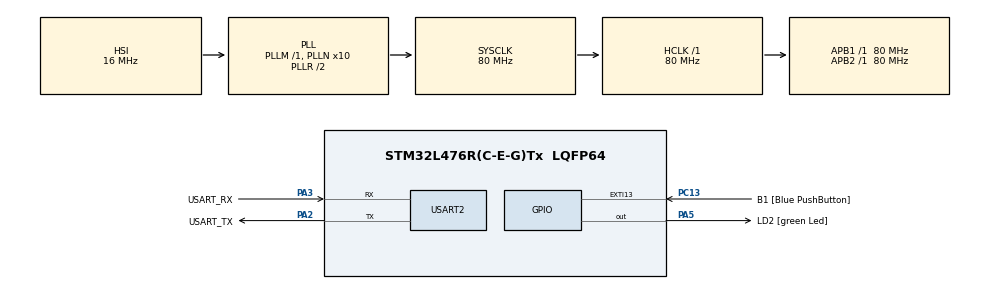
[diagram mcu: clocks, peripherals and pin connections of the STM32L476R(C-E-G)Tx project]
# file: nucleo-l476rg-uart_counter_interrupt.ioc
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Mcu.Family=STM32L4
Mcu.Name=STM32L476R(C-E-G)Tx
Mcu.Package=LQFP64
NVIC.PriorityGroup=NVIC_PRIORITYGROUP_4
NVIC.USART2_IRQn=true\:0\:0\:false\:false\:true\:true\:true
PA13\ (JTMS-SWDIO).GPIO_Label=TMS
PA13\ (JTMS-SWDIO).Mode=Serial_Wire
PA13\ (JTMS-SWDIO).Signal=SYS_JTMS-SWDIO
PA14\ (JTCK-SWCLK).GPIO_Label=TCK
PA14\ (JTCK-SWCLK).Mode=Serial_Wire
PA14\ (JTCK-SWCLK).Signal=SYS_JTCK-SWCLK
PA2.GPIO_Label=USART_TX
PA2.GPIO_Mode=GPIO_MODE_AF_PP
PA2.GPIO_PuPd=GPIO_NOPULL
PA2.GPIO_Speed=GPIO_SPEED_FREQ_VERY_HIGH
PA2.Mode=Asynchronous
PA2.Signal=USART2_TX
PA3.GPIO_Label=USART_RX
PA3.GPIO_Mode=GPIO_MODE_AF_PP
PA3.GPIO_PuPd=GPIO_NOPULL
PA3.GPIO_Speed=GPIO_SPEED_FREQ_VERY_HIGH
PA3.Mode=Asynchronous
PA3.Signal=USART2_RX
PA5.GPIO_Label=LD2 [green Led]
PA5.GPIO_ModeDefaultOutputPP=GPIO_MODE_OUTPUT_PP
PA5.GPIO_PuPd=GPIO_NOPULL
PA5.GPIO_Speed=GPIO_SPEED_FREQ_LOW
PA5.Signal=GPIO_Output
PB3\ (JTDO-TRACESWO).GPIO_Label=SWO
PB3\ (JTDO-TRACESWO).Signal=SYS_JTDO-SWO
PC13.GPIO_Label=B1 [Blue PushButton]
PC13.GPIO_ModeDefaultEXTI=GPIO_MODE_IT_FALLING
PC13.GPIO_PuPd=GPIO_NOPULL
PC13.Signal=GPXTI13
PC14-OSC32_IN\ (PC14).Mode=LSE-External-Oscillator
PC14-OSC32_IN\ (PC14).Signal=RCC_OSC32_IN
PC15-OSC32_OUT\ (PC15).Mode=LSE-External-Oscillator
PC15-OSC32_OUT\ (PC15).Signal=RCC_OSC32_OUT
PH0-OSC_IN\ (PH0).Signal=RCC_OSC_IN
PH1-OSC_OUT\ (PH1).Signal=RCC_OSC_OUT
ProjectManager.HeapSize=0x200
ProjectManager.StackSize=0x400
ProjectManager.TargetToolchain=STM32CubeIDE
RCC.ADCFreq_Value=64000000
RCC.AHBFreq_Value=80000000
RCC.APB1Freq_Value=80000000
RCC.APB1TimFreq_Value=80000000
RCC.APB2Freq_Value=80000000
RCC.APB2TimFreq_Value=80000000
RCC.CortexFreq_Value=80000000
RCC.HCLKFreq_Value=80000000
RCC.HSE_VALUE=8000000
RCC.HSI_VALUE=16000000
RCC.MSI_VALUE=4000000
RCC.PLLN=10
RCC.PLLSourceVirtual=RCC_PLLSOURCE_HSI
RCC.PREFETCH_ENABLE=1
RCC.SYSCLKFreq_VALUE=80000000
RCC.SYSCLKSource=RCC_SYSCLKSOURCE_PLLCLK
RCC.USBFreq_Value=64000000
RCC.VCOOutputFreq_Value=160000000
USART2.VirtualMode-Asynchronous=VM_ASYNC
board=NUCLEO-L476RG

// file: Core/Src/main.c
/* USER CODE BEGIN Header */
/**
  ******************************************************************************
  * @file           : main.c
  * @brief          : Main program body
  ******************************************************************************
  * @attention
  *
  * <h2><center>&copy; Copyright (c) 2021 STMicroelectronics.
  * All rights reserved.</center></h2>
  *
  * This software component is licensed by ST under BSD 3-Clause license,
  * the "License"; You may not use this file except in compliance with the
  * License. You may obtain a copy of the License at:
  *                        opensource.org/licenses/BSD-3-Clause
  *
  ******************************************************************************
  */
/* USER CODE END Header */
#include "main.h"
#include <string.h>
#include <stdio.h>

UART_HandleTypeDef huart2;

void SystemClock_Config(void);
static void MX_GPIO_Init(void);
static void MX_USART2_UART_Init(void);

/* USER CODE BEGIN 0 */

int i = 0; //For the counter.
	uint8_t rx_char[1]= {0};

/* USER CODE END 0 */

int main(void)
{
  /* USER CODE BEGIN 1 */

	//uint8_t buf[100];

  /* USER CODE END 1 */

  /* MCU Configuration--------------------------------------------------------*/

  /* Reset of all peripherals, Initializes the Flash interface and the Systick. */
  HAL_Init();

  /* Configure the system clock */
  SystemClock_Config();

  /* Initialize all configured peripherals */
  MX_GPIO_Init();
  MX_USART2_UART_Init();
  /* USER CODE BEGIN 2 */

  	  uint8_t tx_buff[100];

  	  HAL_UART_Receive_IT(&huart2, rx_char, 1); //Start listening for interrupts.

  /* USER CODE END 2 */

  /* Infinite loop */
  /* USER CODE BEGIN WHILE */
  while (1)
  {
	  snprintf((char*)tx_buff, sizeof(tx_buff), "%d\r\n", i);//Copies a value to the buffer. String casted integer.
	  HAL_UART_Transmit(&huart2, tx_buff, strlen((char*)tx_buff), 500);

	  HAL_Delay(500);
	  i++;
    /* USER CODE END WHILE */

  }
}

void SystemClock_Config(void)
{
  RCC_OscInitTypeDef RCC_OscInitStruct = {0};
  RCC_ClkInitTypeDef RCC_ClkInitStruct = {0};

  /** Configure the main internal regulator output voltage
  */
  if (HAL_PWREx_ControlVoltageScaling(PWR_REGULATOR_VOLTAGE_SCALE1) != HAL_OK)
  {
    Error_Handler();
  }
  /** Initializes the RCC Oscillators according to the specified parameters
  * in the RCC_OscInitTypeDef structure.
  */
  RCC_OscInitStruct.OscillatorType = RCC_OSCILLATORTYPE_HSI;
  RCC_OscInitStruct.HSIState = RCC_HSI_ON;
  RCC_OscInitStruct.HSICalibrationValue = RCC_HSICALIBRATION_DEFAULT;
  RCC_OscInitStruct.PLL.PLLState = RCC_PLL_ON;
  RCC_OscInitStruct.PLL.PLLSource = RCC_PLLSOURCE_HSI;
  RCC_OscInitStruct.PLL.PLLM = 1;
  RCC_OscInitStruct.PLL.PLLN = 10;
  RCC_OscInitStruct.PLL.PLLP = RCC_PLLP_DIV7;
  RCC_OscInitStruct.PLL.PLLQ = RCC_PLLQ_DIV2;
  RCC_OscInitStruct.PLL.PLLR = RCC_PLLR_DIV2;
  if (HAL_RCC_OscConfig(&RCC_OscInitStruct) != HAL_OK)
  {
    Error_Handler();
  }
  /** Initializes the CPU, AHB and APB buses clocks
  */
  RCC_ClkInitStruct.ClockType = RCC_CLOCKTYPE_HCLK|RCC_CLOCKTYPE_SYSCLK
                              |RCC_CLOCKTYPE_PCLK1|RCC_CLOCKTYPE_PCLK2;
  RCC_ClkInitStruct.SYSCLKSource = RCC_SYSCLKSOURCE_PLLCLK;
  RCC_ClkInitStruct.AHBCLKDivider = RCC_SYSCLK_DIV1;
  RCC_ClkInitStruct.APB1CLKDivider = RCC_HCLK_DIV1;
  RCC_ClkInitStruct.APB2CLKDivider = RCC_HCLK_DIV1;

  if (HAL_RCC_ClockConfig(&RCC_ClkInitStruct, FLASH_LATENCY_4) != HAL_OK)
  {
    Error_Handler();
  }
}

static void MX_USART2_UART_Init(void)
{

  huart2.Instance = USART2;
  huart2.Init.BaudRate = 115200;
  huart2.Init.WordLength = UART_WORDLENGTH_8B;
  huart2.Init.StopBits = UART_STOPBITS_1;
  huart2.Init.Parity = UART_PARITY_NONE;
  huart2.Init.Mode = UART_MODE_TX_RX;
  huart2.Init.HwFlowCtl = UART_HWCONTROL_NONE;
  huart2.Init.OverSampling = UART_OVERSAMPLING_16;
  huart2.Init.OneBitSampling = UART_ONE_BIT_SAMPLE_DISABLE;
  huart2.AdvancedInit.AdvFeatureInit = UART_ADVFEATURE_NO_INIT;
  if (HAL_UART_Init(&huart2) != HAL_OK)
  {
    Error_Handler();
  }

}

static void MX_GPIO_Init(void)
{
  GPIO_InitTypeDef GPIO_InitStruct = {0};

  /* GPIO Ports Clock Enable */
  __HAL_RCC_GPIOC_CLK_ENABLE();
  __HAL_RCC_GPIOH_CLK_ENABLE();
  __HAL_RCC_GPIOA_CLK_ENABLE();
  __HAL_RCC_GPIOB_CLK_ENABLE();

  /*Configure GPIO pin Output Level */
  HAL_GPIO_WritePin(LD2_GPIO_Port, LD2_Pin, GPIO_PIN_RESET);

  /*Configure GPIO pin : B1_Pin */
  GPIO_InitStruct.Pin = B1_Pin;
  GPIO_InitStruct.Mode = GPIO_MODE_IT_FALLING;
  GPIO_InitStruct.Pull = GPIO_NOPULL;
  HAL_GPIO_Init(B1_GPIO_Port, &GPIO_InitStruct);

  /*Configure GPIO pin : LD2_Pin */
  GPIO_InitStruct.Pin = LD2_Pin;
  GPIO_InitStruct.Mode = GPIO_MODE_OUTPUT_PP;
  GPIO_InitStruct.Pull = GPIO_NOPULL;
  GPIO_InitStruct.Speed = GPIO_SPEED_FREQ_LOW;
  HAL_GPIO_Init(LD2_GPIO_Port, &GPIO_InitStruct);

}

/* USER CODE BEGIN 4 */

void HAL_UART_RxCpltCallback(UART_HandleTypeDef *huart)
{
	char tx_buff[100] = "Interrupt executed.\r\n";
	char message[50] = "Character:";
	HAL_UART_Transmit(&huart2, (uint8_t*)tx_buff, strlen(tx_buff), 500);

	snprintf(tx_buff, sizeof(tx_buff), "%s %s\r\n", message, rx_char);
	HAL_UART_Transmit(&huart2, (uint8_t*)tx_buff, strlen(tx_buff), 500);

	//rx_char = {0}; //Reset received character buffer.
	HAL_UART_Receive_IT(&huart2, rx_char, 1); //Start listening for the next character.
}

/* USER CODE END 4 */

void Error_Handler(void)
{
  __disable_irq();
  while (1)
  {
  }
}

/************************ (C) COPYRIGHT STMicroelectronics *****END OF FILE****/
